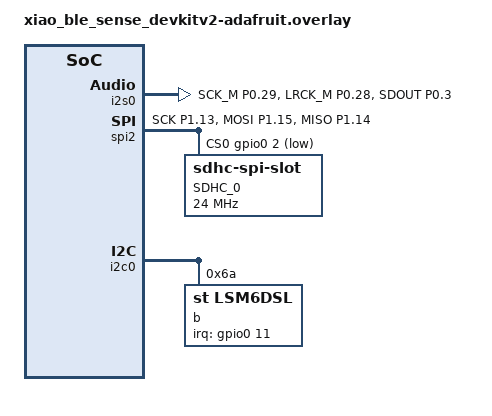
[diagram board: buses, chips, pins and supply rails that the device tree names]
&i2s0 {
    status = "okay";
    pinctrl-0 = <&i2s0_default>;
    pinctrl-names = "default";
    label = "I2S_0";
};

&pinctrl {
    i2s0_default: i2s0_default {
        group1 {
            psels = <NRF_PSEL(I2S_SCK_M, 0, 29)>,    // SCK pin (bit clock) A3
                    <NRF_PSEL(I2S_LRCK_M, 0, 28)>,   // LRCK pin (word select clock) A2
                    <NRF_PSEL(I2S_SDOUT, 0, 3)>;    // SDOUT pin (data out) A1
        };
    };
};

&spi2 {
    status = "okay";
    pinctrl-0 = <&custom_spi>;
    pinctrl-1 = <&custom_spi>;
    pinctrl-names = "default", "sleep";
    cs-gpios = <&gpio0 2 GPIO_ACTIVE_LOW>;  // CS pin on P0.28

    sdhc0: sdhc@0 {
        compatible = "zephyr,sdhc-spi-slot";
        reg = <0>;
        status = "okay";
        label = "SDHC_0";
        mmc {
            compatible = "zephyr,sdmmc-disk";
            status = "okay";
        };
        spi-max-frequency = <24000000>;  // 24 MHz SPI speed for SD card
    };
};

&pinctrl {
    custom_spi: custom_spi {
        group1 {
            psels = <NRF_PSEL(SPIM_SCK, 1, 13)>,  // SCK on P1.13
                    <NRF_PSEL(SPIM_MOSI, 1, 15)>, // MOSI on P1.15
                    <NRF_PSEL(SPIM_MISO, 1, 14)>; // MISO on P1.14
        };
    };
};

&uart0 {
    status = "disabled";
};

// &qspi {
//     status = "disabled";
// };

&i2c0 {
    lsm6ds3tr_c: lsm6ds3tr-c@6a {
		compatible = "st,lsm6dsl";
		reg = <0x6a>;
		irq-gpios = <&gpio0 11 GPIO_ACTIVE_HIGH>;
		status = "okay";
        label = "b";
        // wakeup-source = true;
	};
};

&i2c1{
    status = "disabled";
};

&temp {
    status = "disabled";
};

